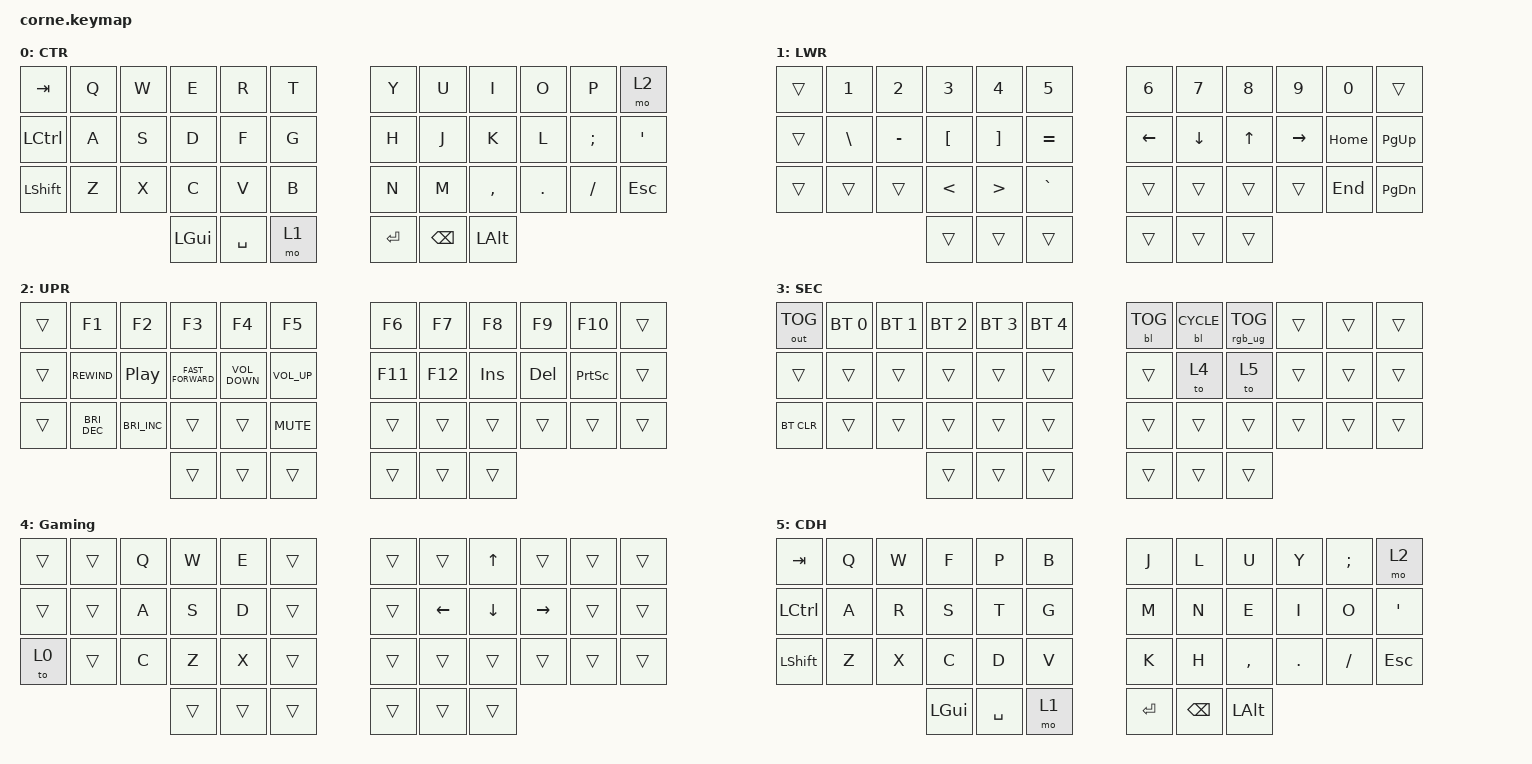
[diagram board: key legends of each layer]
/*
 * Copyright (c) 2020 The ZMK Contributors
 *
 * SPDX-License-Identifier: MIT
 */

#include <behaviors.dtsi>
#include <dt-bindings/zmk/backlight.h>
#include <dt-bindings/zmk/bt.h>
#include <dt-bindings/zmk/keys.h>
#include <dt-bindings/zmk/outputs.h>
#include <dt-bindings/zmk/rgb.h>

/ {
    combos {
        compatible = "zmk,combos";

        CONF {
            bindings = <&mo 3>;
            key-positions = <11 38>;
        };
    };

    keymap {
        compatible = "zmk,keymap";

        Center {
            // -----------------------------------------------------------------------------------------
            // |  TAB |  Q  |  W  |  E  |  R  |  T  |   |  Y  |  U   |  I  |  O  |  P  | BKSP |
            // | CTRL |  A  |  S  |  D  |  F  |  G  |   |  H  |  J   |  K  |  L  |  ;  |  '   |
            // | SHFT |  Z  |  X  |  C  |  V  |  B  |   |  N  |  M   |  ,  |  .  |  /  | ESC  |
            //                    | GUI | LWR | SPC |   | ENT | RSE  | ALT |

            bindings = <
&kp TAB    &kp Q  &kp W  &kp E     &kp R      &kp T    &kp Y    &kp U          &kp I      &kp O    &kp P     &mo 2
&kp LCTRL  &kp A  &kp S  &kp D     &kp F      &kp G    &kp H    &kp J          &kp K      &kp L    &kp SEMI  &kp SQT
&kp LSHFT  &kp Z  &kp X  &kp C     &kp V      &kp B    &kp N    &kp M          &kp COMMA  &kp DOT  &kp FSLH  &kp ESC
                         &kp LGUI  &kp SPACE  &mo 1    &kp RET  &kp BACKSPACE  &kp LALT
            >;

            label = "CTR";
        };

        Lower {
            // -----------------------------------------------------------------------------------------
            // |  TAB |  1  |  2  |  3  |  4  |  5  |   |  6  |  7  |  8  |  9  |  0  | BKSP |
            // | BTCLR| BT1 | BT2 | BT3 | BT4 | BT5 |   | LFT | DWN |  UP | RGT |     |      |
            // | SHFT |     |     |     |     |     |   |     |     |     |     |     |      |
            //                    | GUI |     | SPC |   | ENT |     | ALT |

            bindings = <
&trans  &kp N1         &kp N2     &kp N3         &kp N4            &kp N5       &kp N6    &kp N7    &kp N8  &kp N9     &kp N0    &trans
&trans  &kp BACKSLASH  &kp MINUS  &kp LBKT       &kp RBKT          &kp EQUAL    &kp LEFT  &kp DOWN  &kp UP  &kp RIGHT  &kp HOME  &kp PG_UP
&trans  &trans         &trans     &kp LESS_THAN  &kp GREATER_THAN  &kp GRAVE    &trans    &trans    &trans  &trans     &kp END   &kp PG_DN
                                  &trans         &trans            &trans       &trans    &trans    &trans
            >;

            label = "LWR";
        };

        Upper {
            // -----------------------------------------------------------------------------------------
            // |  TAB |  !  |  @  |  #  |  $  |  %  |   |  ^  |  &  |  *  |  (  |  )  | BKSP |
            // | CTRL |     |     |     |     |     |   |  -  |  =  |  [  |  ]  |  \  |  `   |
            // | SHFT |     |     |     |     |     |   |  _  |  +  |  {  |  }  | "|" |  ~   |
            //                    | GUI |     | SPC |   | ENT |     | ALT |

            bindings = <
&trans  &kp F1                &kp F2                &kp F3              &kp F4             &kp F5             &kp F6   &kp F7   &kp F8      &kp F9      &kp F10    &trans
&trans  &kp C_REWIND          &kp C_PLAY_PAUSE      &kp C_FAST_FORWARD  &kp C_VOLUME_DOWN  &kp C_VOLUME_UP    &kp F11  &kp F12  &kp INSERT  &kp DELETE  &kp PSCRN  &trans
&trans  &kp C_BRIGHTNESS_DEC  &kp C_BRIGHTNESS_INC  &trans              &trans             &kp C_MUTE         &trans   &trans   &trans      &trans      &trans     &trans
                                                    &trans              &trans             &trans             &trans   &trans   &trans
            >;

            label = "UPR";
        };

        Config {
            bindings = <
&out OUT_TOG  &bt BT_SEL 0  &bt BT_SEL 1  &bt BT_SEL 2  &bt BT_SEL 3  &bt BT_SEL 4    &bl BL_TOG  &bl BL_CYCLE  &rgb_ug RGB_TOG  &trans  &trans  &trans
&trans        &trans        &trans        &trans        &trans        &trans          &trans      &to 4         &to 5            &trans  &trans  &trans
&bt BT_CLR    &trans        &trans        &trans        &trans        &trans          &trans      &trans        &trans           &trans  &trans  &trans
                                          &trans        &trans        &trans          &trans      &trans        &trans
            >;

            label = "SEC";
        };

        Gaming {
            bindings = <
&trans  &trans  &kp Q  &kp W   &kp E   &trans    &trans  &trans    &kp UP    &trans     &trans  &trans
&trans  &trans  &kp A  &kp S   &kp D   &trans    &trans  &kp LEFT  &kp DOWN  &kp RIGHT  &trans  &trans
&to 0   &trans  &kp C  &kp Z   &kp X   &trans    &trans  &trans    &trans    &trans     &trans  &trans
                       &trans  &trans  &trans    &trans  &trans    &trans
            >;

            label = "Gaming";
        };

        ColemakDH {
            label = "CDH";
            bindings = <
&kp TAB    &kp Q  &kp W  &kp F     &kp P      &kp B    &kp J    &kp L          &kp U         &kp Y    &kp SEMICOLON  &mo 2
&kp LCTRL  &kp A  &kp R  &kp S     &kp T      &kp G    &kp M    &kp N          &kp E         &kp I    &kp O          &kp SQT
&kp LSHFT  &kp Z  &kp X  &kp C     &kp D      &kp V    &kp K    &kp H          &kp COMMA     &kp DOT  &kp FSLH       &kp ESC
                         &kp LGUI  &kp SPACE  &mo 1    &kp RET  &kp BACKSPACE  &kp LEFT_ALT
            >;
        };
    };
};
